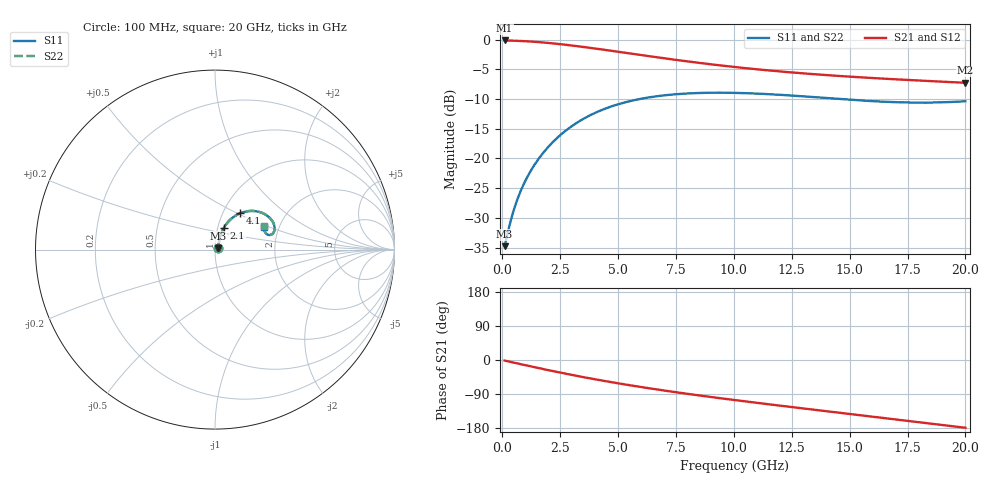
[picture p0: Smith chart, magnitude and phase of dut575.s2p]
! Touchstone file exported from HFSS 2024.1.0
!  File:  C:/UserFiles/LocalFiles/RDL_TSV_Batchsim/temp_RDL_TSV_575_1779755533.aedt
!  Generated:  08:47:17 AM May 26, 2026
!  Design:  RDL_TSV
!  Project:  temp_RDL_TSV_575_1779755533
!  Setup:  Setup1
!  Solution:  Sweep
! Variables:
!  dtsv = 5.24um
!  hbump = 3um
!  htsv = 54.47um
!  ldown = 330um
!  lrdl = 446.73um
!  p = 40
!  p1 = 44.04um
!  rhole = 10um
!  subl = 2776.92um
!  t = 450um
!  tdown = 4.79um
!  trdl = 3.34um
!  viad = 10um
!  wdown = 24.78um
!  wrdl = 15.29um
!  xbump = 18um
# GHz S MA R 50.000000
! Terminal data exported
! Port[1] = TM1_1_T1
! Port[2] = TM1_4_T1
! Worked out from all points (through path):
!   200 points, 100 MHz to 20 GHz, reference 50 ohm
!   highest |S21| = -0.15 dB at 100 MHz (marker M1); lowest = -7.3 dB at 20 GHz (marker M2)
!   group delay of S21, straight-line fit = 23.6 ps
!   lowest |S11| = -34.8 dB at 100 MHz (marker M3), VSWR 1.04, Z = 51.7 + j0.695 ohm
!   |S11| at or under -10 dB: start of sweep to 5.942 GHz; 14.56 GHz to end of sweep
!   |S22| runs from -34.8 to -8.9 dB; largest |S21 - S12| = 2.5e-14
!   S11 on the Smith chart (normalised r, x): 100 MHz: 1.03, +0.01; 2.1 GHz: 1.07, +0.27; 4.1 GHz: 1.20, +0.52; 20 GHz: 1.67, +0.47
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0.1  0.01827 21.6  0.983 -1.4  0.983 -1.4  0.01827 21.6
! Gamma 0 0 0 0
! Port Impedance 50 0 50 0
0.3  0.02675 45.9  0.9809 -4.2  0.9809 -4.2  0.02675 45.9
0.5  0.03701 56.5  0.9782 -7.0  0.9782 -7.0  0.037 56.5
0.7  0.04788 62.2  0.9749 -9.7  0.9749 -9.7  0.04788 62.2
0.9  0.05922 65.5  0.9709 -12.4  0.9709 -12.4  0.05922 65.5
1.1  0.07091 67.4  0.9662 -15.1  0.9662 -15.1  0.07091 67.4
1.4  0.08892 68.7  0.9577 -19.1  0.9577 -19.1  0.08892 68.7
1.7  0.1073 68.8  0.9477 -23.0  0.9477 -23.0  0.1073 68.8
2.1  0.1321 67.8  0.9324 -28.2  0.9324 -28.2  0.1321 67.8
2.8  0.1749 64.3  0.9014 -36.9  0.9014 -36.9  0.175 64.3
3.5  0.2151 59.7  0.8669 -45.2  0.8669 -45.2  0.2152 59.7
4.1  0.2462 55.3  0.8362 -51.9  0.8362 -51.9  0.2463 55.4
5.3  0.2963 46.6  0.7748 -64.5  0.7748 -64.5  0.2964 46.7
6.8  0.3359 36.9  0.7042 -78.8  0.7042 -78.8  0.3362 36.9
8.4  0.3547 28.4  0.6403 -92.7  0.6403 -92.7  0.3551 28.5
10.1  0.3558 21.6  0.5858 -106.2  0.5858 -106.2  0.3563 21.7
11.7  0.3456 17.3  0.5457 -118.3  0.5457 -118.3  0.3461 17.4
13.4  0.3286 15.1  0.5123 -130.8  0.5123 -130.8  0.3292 15.1
15  0.3119 15.1  0.4876 -142.4  0.4876 -142.4  0.3125 15.2
16.7  0.2986 17.3  0.4662 -154.7  0.4662 -154.7  0.2993 17.4
18.3  0.2949 20.9  0.4491 -166.4  0.4491 -166.4  0.2956 21.0
20  0.3026 25.1  0.4328 -178.8  0.4328 -178.8  0.3033 25.2
